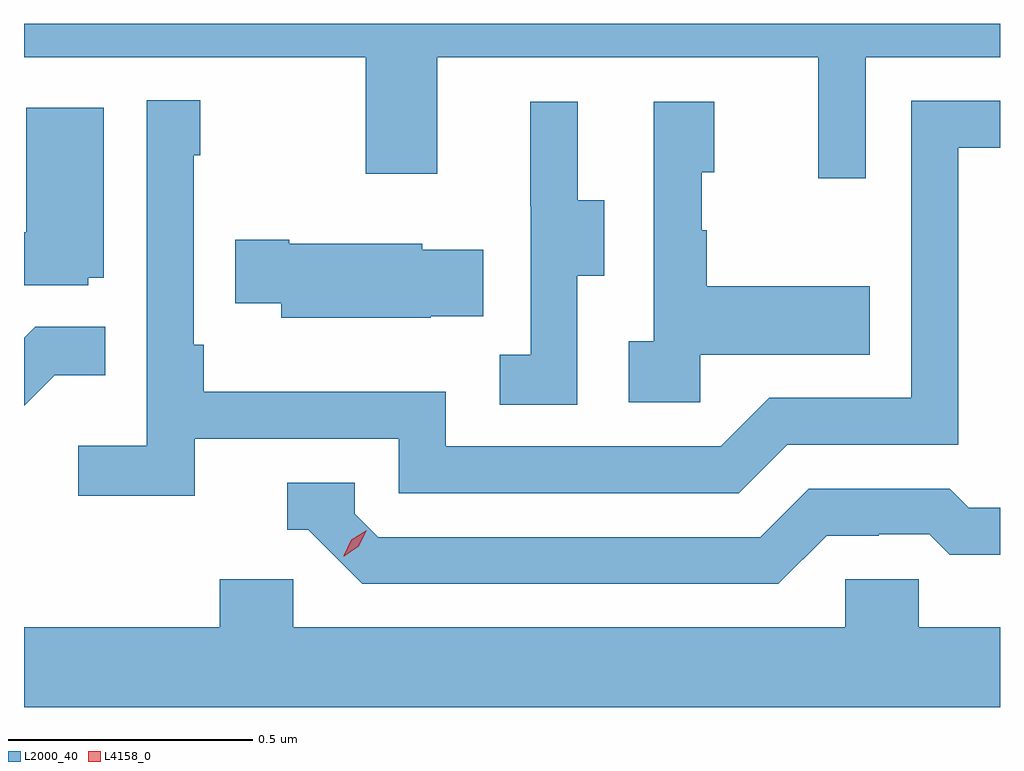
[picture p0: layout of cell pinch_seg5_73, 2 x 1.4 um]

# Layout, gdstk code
import gdstk
lib = gdstk.Library(unit=1e-6, precision=1e-09)
def P(c, l, *ps):  # polygons
    for p in ps: c.add(gdstk.Polygon(p, *l))
L2000_40 = (2000, 40)
L4158_0 = (4158, 0)

pinch_seg5_73 = lib.new_cell('pinch_seg5_73')
P(pinch_seg5_73, L2000_40, [(1055.739,904.712),(1056.014,904.712),(1056.014,904.781),(1054.014,904.781),(1054.014,904.712),(1054.714,904.712),(1054.714,904.473),(1054.861,904.473),(1054.861,904.712),(1055.642,904.712),(1055.642,904.464),(1055.739,904.464)],
  [(1054.364,903.93),(1054.782,903.93),(1054.782,903.819),(1055.479,903.819),(1055.578,903.918),(1055.928,903.918),(1055.928,904.527),(1056.014,904.527),(1056.014,904.623),(1055.832,904.623),(1055.832,904.014),(1055.541,904.014),(1055.442,903.915),(1054.878,903.915),(1054.878,904.027),(1054.382,904.027),(1054.382,904.123),(1054.362,904.123),(1054.362,904.511),(1054.375,904.511),(1054.375,904.624),(1054.266,904.624),(1054.266,903.916),(1054.125,903.916),(1054.125,903.814),(1054.364,903.814)],
  [(1055.4,904.103),(1055.747,904.103),(1055.747,904.243),(1055.413,904.243),(1055.413,904.358),(1055.403,904.358),(1055.403,904.476),(1055.428,904.476),(1055.428,904.621),(1055.304,904.621),(1055.304,904.13),(1055.253,904.13),(1055.253,904.005),(1055.4,904.005)],
  [(1055.148,904.264),(1055.203,904.264),(1055.203,904.419),(1055.149,904.419),(1055.149,904.621),(1055.051,904.621),(1055.051,904.407),(1055.052,904.407),(1055.052,904.103),(1054.989,904.103),(1054.989,904),(1055.148,904)],
  [(1054.146,904.26),(1054.177,904.26),(1054.177,904.609),(1054.019,904.609),(1054.019,904.354),(1054.014,904.354),(1054.014,904.245),(1054.146,904.245)],
  [(1054.847,904.181),(1054.955,904.181),(1054.955,904.318),(1054.83,904.318),(1054.83,904.33),(1054.558,904.33),(1054.558,904.338),(1054.447,904.338),(1054.447,904.208),(1054.541,904.208),(1054.541,904.178),(1054.847,904.178)],
  [(1054.077,904.061),(1054.181,904.061),(1054.181,904.16),(1054.037,904.16),(1054.014,904.137),(1054.014,903.998)],
  [(1055.659,903.732),(1055.766,903.732),(1055.766,903.735),(1055.869,903.735),(1055.911,903.693),(1056.014,903.693),(1056.014,903.789),(1055.95,903.789),(1055.911,903.828),(1055.622,903.828),(1055.523,903.729),(1054.74,903.729),(1054.692,903.777),(1054.692,903.84),(1054.553,903.84),(1054.553,903.744),(1054.596,903.744),(1054.707,903.633),(1055.56,903.633)],
  [(1056.014,903.544),(1055.847,903.544),(1055.847,903.642),(1055.697,903.642),(1055.697,903.544),(1054.566,903.544),(1054.566,903.642),(1054.415,903.642),(1054.415,903.544),(1054.014,903.544),(1054.014,903.38),(1056.014,903.38)])
P(pinch_seg5_73, L4158_0, [(1054.669,903.69),(1054.669,903.691),(1054.685,903.723),(1054.716,903.743),(1054.716,903.743),(1054.716,903.743),(1054.7,903.71),(1054.67,903.69)])

lib.write_gds('pinch_seg5_73.gds')
